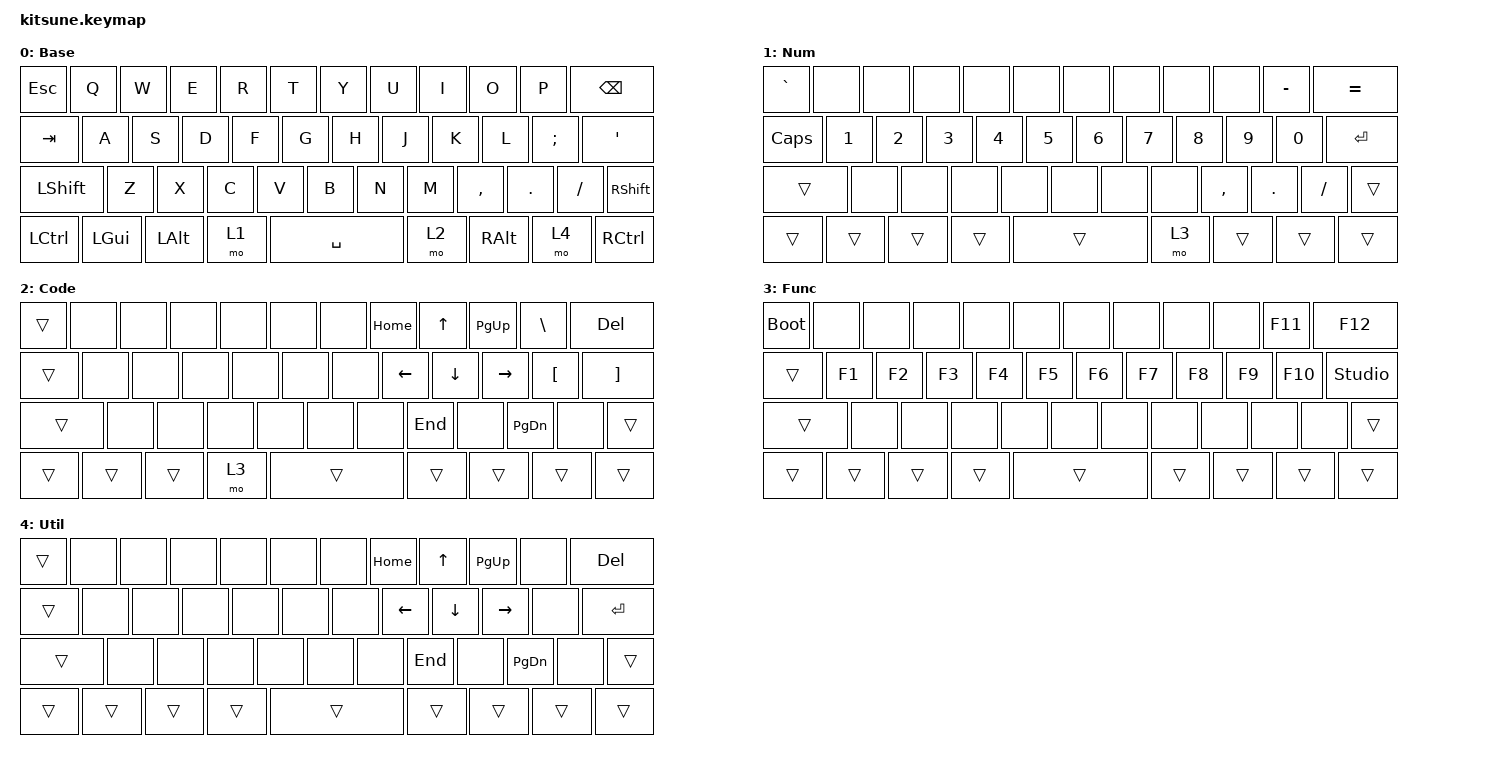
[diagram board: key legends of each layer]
#undef ZMK_BEHAVIORS_KEEP_ALL 
#include <behaviors.dtsi>
#include <dt-bindings/zmk/keys.h>

/ {
    keymap {
        compatible = "zmk,keymap";

        default_layer {
            display-name = "Base";
            bindings = <
                &kp ESC   &kp Q    &kp W    &kp E &kp R &kp T     &kp Y &kp U &kp I     &kp O   &kp P     &kp BSPC
                &kp TAB   &kp A    &kp S    &kp D &kp F &kp G     &kp H &kp J &kp K     &kp L   &kp SEMI  &kp SQT
                &kp LSHFT &kp Z    &kp X    &kp C &kp V &kp B     &kp N &kp M &kp COMMA &kp DOT &kp SLASH &kp RSHFT
                &kp LCTRL &kp LGUI &kp LALT &mo 1       &kp SPACE       &mo 2 &kp RALT          &mo 4     &kp RCTRL
            >;
        };

        1 {
            display-name = "Num";
            bindings = <
                &kp GRAVE &none  &none  &none  &none  &none  &none  &none  &none     &none   &kp MINUS &kp EQUAL
                &kp CAPS  &kp N1 &kp N2 &kp N3 &kp N4 &kp N5 &kp N6 &kp N7 &kp N8    &kp N9  &kp N0    &kp ENTER
                &trans    &none  &none  &none  &none  &none  &none  &none  &kp COMMA &kp DOT &kp SLASH &trans
                &trans    &trans &trans &trans        &trans        &mo 3  &trans            &trans    &trans
            >;
        };

        2 {
            display-name = "Code";
            bindings = <
                &trans &none  &none  &none  &none  &none  &none  &kp HOME &kp UP   &kp PG_UP &kp BSLH &kp DEL 
                &trans &none  &none  &none  &none  &none  &none  &kp LEFT &kp DOWN &kp RIGHT &kp LBKT &kp RBKT
                &trans &none  &none  &none  &none  &none  &none  &kp END  &none    &kp PG_DN &none    &trans
                &trans &trans &trans &mo 3         &trans        &trans   &trans             &trans   &trans
            >;
        };

        3 {
            display-name = "Func";
            bindings = <
                &bootloader &none  &none  &none  &none  &none  &none  &none  &none  &none  &kp F11 &kp F12
                &trans      &kp F1 &kp F2 &kp F3 &kp F4 &kp F5 &kp F6 &kp F7 &kp F8 &kp F9 &kp F10 &studio_unlock
                &trans      &none  &none  &none  &none  &none  &none  &none  &none  &none  &none   &trans
                &trans      &trans &trans &trans        &trans        &trans &trans        &trans  &trans
            >;
        };

        4 {
            display-name = "Util";
            bindings = <
                &trans &none  &none  &none  &none  &none  &none  &kp HOME &kp UP   &kp PG_UP &none  &kp DEL 
                &trans &none  &none  &none  &none  &none  &none  &kp LEFT &kp DOWN &kp RIGHT &none  &kp ENTER
                &trans &none  &none  &none  &none  &none  &none  &kp END  &none    &kp PG_DN &none  &trans
                &trans &trans &trans &trans        &trans        &trans   &trans             &trans &trans
            >;
        };

        5 {
            status = "reserved";
        };

        6 {
            status = "reserved";
        };


        7 {
            status = "reserved";
        };
    };
};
